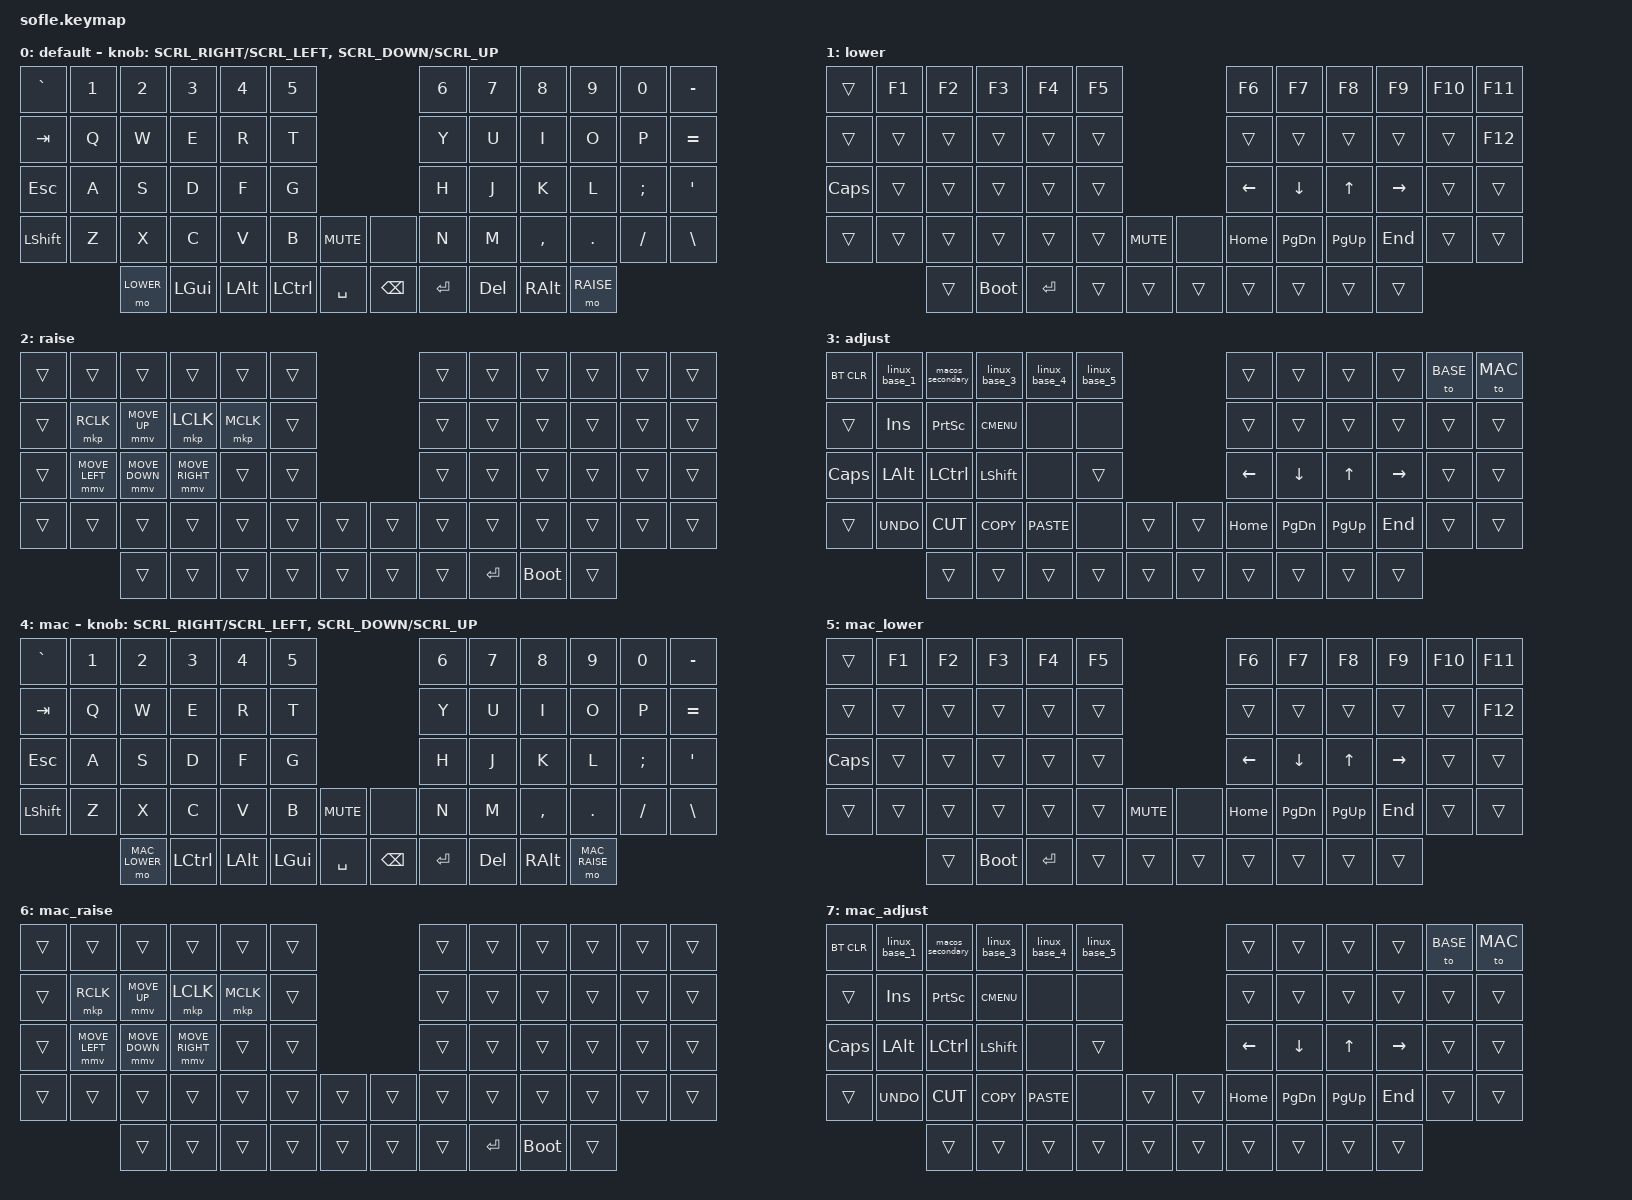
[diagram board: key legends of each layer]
/*
 * Copyright (c) 2020 The ZMK Contributors
 *
 * SPDX-License-Identifier: MIT
 */

#include <behaviors.dtsi>
#include <dt-bindings/zmk/bt.h>
#include <dt-bindings/zmk/keys.h>
#include <dt-bindings/zmk/pointing.h>

#define BASE 0
#define LOWER 1
#define RAISE 2
#define ADJUST 3
#define MAC 4
#define MAC_LOWER 5
#define MAC_RAISE 6
#define MAC_ADJUST 7

/ {
    behaviors {
        enc_scroll_h: enc_scroll_h {
            compatible = "zmk,behavior-sensor-rotate-var";
            #sensor-binding-cells = <2>;
            bindings = <&msc>, <&msc>;
        };

        enc_scroll_v: enc_scroll_v {
            compatible = "zmk,behavior-sensor-rotate-var";
            #sensor-binding-cells = <2>;
            bindings = <&msc>, <&msc>;
        };
    };

    macros {
        linux_base_1: linux_base_1 {
            compatible = "zmk,behavior-macro";
            #binding-cells = <0>;
            bindings = <&bt BT_SEL 0>, <&to BASE>;
        };

        macos_secondary: macos_secondary {
            compatible = "zmk,behavior-macro";
            #binding-cells = <0>;
            bindings = <&bt BT_SEL 1>, <&to MAC>;
        };

        linux_base_3: linux_base_3 {
            compatible = "zmk,behavior-macro";
            #binding-cells = <0>;
            bindings = <&bt BT_SEL 2>, <&to BASE>;
        };

        linux_base_4: linux_base_4 {
            compatible = "zmk,behavior-macro";
            #binding-cells = <0>;
            bindings = <&bt BT_SEL 3>, <&to BASE>;
        };

        linux_base_5: linux_base_5 {
            compatible = "zmk,behavior-macro";
            #binding-cells = <0>;
            bindings = <&bt BT_SEL 4>, <&to BASE>;
        };
    };

    conditional_layers {
        compatible = "zmk,conditional-layers";

        adjust_layer {
            if-layers = <LOWER RAISE>;
            then-layer = <ADJUST>;
        };

        adjust_layer_mac {
            if-layers = <MAC_LOWER MAC_RAISE>;
            then-layer = <MAC_ADJUST>;
        };
    };

    keymap {
        compatible = "zmk,keymap";

        default_layer {
            label = "default";

            // ------------------------------------------------------------------------------------------------------------
            // |   `   |  1  |  2  |  3   |  4   |  5   |                   |  6   |  7    |  8    |  9   |   0   |       |
            // |  ESC  |  Q  |  W  |  E   |  R   |  T   |                   |  Y   |  U    |  I    |  O   |   P   | BKSPC |
            // |  TAB  |  A  |  S  |  D   |  F   |  G   |                   |  H   |  J    |  K    |  L   |   ;   |   '   |
            // | SHIFT |  Z  |  X  |  C   |  V   |  B   |  MUTE  |  |       |  N   |  M    |  ,    |  .   |   /   | SHIFT |
            //               | GUI | ALT  | CTRL | LOWER|  ENTER |  | SPACE | RAISE| CTRL  | ALT   | GUI  |

            bindings = <
&kp GRAVE  &kp N1  &kp N2     &kp N3    &kp N4    &kp N5                             &kp N6     &kp N7   &kp N8     &kp N9     &kp N0    &kp MINUS
&kp TAB    &kp Q   &kp W      &kp E     &kp R     &kp T                              &kp Y      &kp U    &kp I      &kp O      &kp P     &kp EQUAL
&kp ESC    &kp A   &kp S      &kp D     &kp F     &kp G                              &kp H      &kp J    &kp K      &kp L      &kp SEMI  &kp SQT
&kp LSHFT  &kp Z   &kp X      &kp C     &kp V     &kp B      &kp C_MUTE    &none     &kp N      &kp M    &kp COMMA  &kp DOT    &kp FSLH  &kp BSLH
                   &mo LOWER  &kp LGUI  &kp LALT  &kp LCTRL  &kp SPACE     &kp BSPC  &kp ENTER  &kp DEL  &kp RALT   &mo RAISE
            >;

            sensor-bindings =
                <&enc_scroll_h SCRL_RIGHT SCRL_LEFT>,
                <&enc_scroll_v SCRL_DOWN SCRL_UP>;
        };

        lower_layer {
            label = "lower";
            bindings = <
&trans        &kp F1  &kp F2  &kp F3       &kp F4     &kp F5                        &kp F6    &kp F7     &kp F8     &kp F9      &kp F10  &kp F11
&trans        &trans  &trans  &trans       &trans     &trans                        &trans    &trans     &trans     &trans      &trans   &kp F12
&kp CAPSLOCK  &trans  &trans  &trans       &trans     &trans                        &kp LEFT  &kp DOWN   &kp UP     &kp RIGHT   &trans   &trans
&trans        &trans  &trans  &trans       &trans     &trans  &kp C_MUTE    &none   &kp HOME  &kp PG_DN  &kp PG_UP  &kp END     &trans   &trans
                      &trans  &bootloader  &kp ENTER  &trans  &trans        &trans  &trans    &trans     &trans     &trans
            >;
        };

        raise_layer {
            label = "raise";

            // ------------------------------------------------------------------------------------------------------------
            // | BTCLR | BT1  | BT2  |  BT3  |  BT4  |  BT5 |                |      |      |       |      |       |       |
            // |       | INS  | PSCR | GUI   |       |      |                | PGUP |      |   ^   |      |       |       |
            // |       | ALT  | CTRL | SHIFT |       | CAPS |                | PGDN |   <- |   v   |  ->  |  DEL  | BKSPC |
            // |       | UNDO | CUT  | COPY  | PASTE |      |      |  |      |      |      |       |      |       |       |
            //                |      |       |       |      |      |  |      |      |      |       |      |

            bindings = <
&trans  &trans          &trans          &trans           &trans     &trans                    &trans  &trans     &trans       &trans  &trans  &trans
&trans  &mkp RCLK       &mmv MOVE_UP    &mkp LCLK        &mkp MCLK  &trans                    &trans  &trans     &trans       &trans  &trans  &trans
&trans  &mmv MOVE_LEFT  &mmv MOVE_DOWN  &mmv MOVE_RIGHT  &trans     &trans                    &trans  &trans     &trans       &trans  &trans  &trans
&trans  &trans          &trans          &trans           &trans     &trans  &trans    &trans  &trans  &trans     &trans       &trans  &trans  &trans
                        &trans          &trans           &trans     &trans  &trans    &trans  &trans  &kp ENTER  &bootloader  &trans
            >;
        };

        adjust_layer {
            label = "adjust";
            bindings = <
&bt BT_CLR    &linux_base_1 &macos_secondary &linux_base_3 &linux_base_4 &linux_base_5          &trans    &trans     &trans     &trans     &to BASE    &to MAC
&trans        &kp INS     &kp PSCRN  &kp K_CMENU  &none        &none                     &trans    &trans     &trans     &trans     &trans  &trans
&kp CAPSLOCK  &kp LALT    &kp LCTRL  &kp LSHFT    &none        &trans                    &kp LEFT  &kp DOWN   &kp UP     &kp RIGHT  &trans  &trans
&trans        &kp K_UNDO  &kp K_CUT  &kp K_COPY   &kp K_PASTE  &none   &trans    &trans  &kp HOME  &kp PG_DN  &kp PG_UP  &kp END    &trans  &trans
                          &trans     &trans       &trans       &trans  &trans    &trans  &trans    &trans     &trans     &trans
            >;
        };

        layer_4 {
            label = "mac";
            bindings = <
&kp GRAVE  &kp N1  &kp N2     &kp N3    &kp N4    &kp N5                             &kp N6     &kp N7   &kp N8     &kp N9     &kp N0    &kp MINUS
&kp TAB    &kp Q   &kp W      &kp E     &kp R     &kp T                              &kp Y      &kp U    &kp I      &kp O      &kp P     &kp EQUAL
&kp ESC    &kp A   &kp S      &kp D     &kp F     &kp G                              &kp H      &kp J    &kp K      &kp L      &kp SEMI  &kp SQT
&kp LSHFT  &kp Z   &kp X      &kp C     &kp V     &kp B      &kp C_MUTE    &none     &kp N      &kp M    &kp COMMA  &kp DOT    &kp FSLH  &kp BSLH
                   &mo MAC_LOWER  &kp LCTRL  &kp LALT  &kp LGUI   &kp SPACE     &kp BSPC  &kp ENTER  &kp DEL  &kp RALT   &mo MAC_RAISE
            >;

            sensor-bindings =
                <&enc_scroll_h SCRL_RIGHT SCRL_LEFT>,
                <&enc_scroll_v SCRL_DOWN SCRL_UP>;
        };

        mac_lower_layer {
            label = "mac_lower";
            bindings = <
&trans        &kp F1  &kp F2  &kp F3       &kp F4     &kp F5                        &kp F6    &kp F7     &kp F8     &kp F9      &kp F10  &kp F11
&trans        &trans  &trans  &trans       &trans     &trans                        &trans    &trans     &trans     &trans      &trans   &kp F12
&kp CAPSLOCK  &trans  &trans  &trans       &trans     &trans                        &kp LEFT  &kp DOWN   &kp UP     &kp RIGHT   &trans   &trans
&trans        &trans  &trans  &trans       &trans     &trans  &kp C_MUTE    &none   &kp HOME  &kp PG_DN  &kp PG_UP  &kp END     &trans   &trans
                      &trans  &bootloader  &kp ENTER  &trans  &trans        &trans  &trans    &trans     &trans     &trans
            >;
        };

        mac_raise_layer {
            label = "mac_raise";
            bindings = <
&trans  &trans          &trans          &trans           &trans     &trans                    &trans  &trans     &trans       &trans  &trans  &trans
&trans  &mkp RCLK       &mmv MOVE_UP    &mkp LCLK        &mkp MCLK  &trans                    &trans  &trans     &trans       &trans  &trans  &trans
&trans  &mmv MOVE_LEFT  &mmv MOVE_DOWN  &mmv MOVE_RIGHT  &trans     &trans                    &trans  &trans     &trans       &trans  &trans  &trans
&trans  &trans          &trans          &trans           &trans     &trans  &trans    &trans  &trans  &trans     &trans       &trans  &trans  &trans
                        &trans          &trans           &trans     &trans  &trans    &trans  &trans  &kp ENTER  &bootloader  &trans
            >;
        };

        mac_adjust_layer {
            label = "mac_adjust";
            bindings = <
&bt BT_CLR    &linux_base_1 &macos_secondary &linux_base_3 &linux_base_4 &linux_base_5          &trans    &trans     &trans     &trans     &to BASE    &to MAC
&trans        &kp INS     &kp PSCRN  &kp K_CMENU  &none        &none                     &trans    &trans     &trans     &trans     &trans  &trans
&kp CAPSLOCK  &kp LALT    &kp LCTRL  &kp LSHFT    &none        &trans                    &kp LEFT  &kp DOWN   &kp UP     &kp RIGHT  &trans  &trans
&trans        &kp K_UNDO  &kp K_CUT  &kp K_COPY   &kp K_PASTE  &none   &trans    &trans  &kp HOME  &kp PG_DN  &kp PG_UP  &kp END    &trans  &trans
                          &trans     &trans       &trans       &trans  &trans    &trans  &trans    &trans     &trans     &trans
            >;
        };
    };
};
